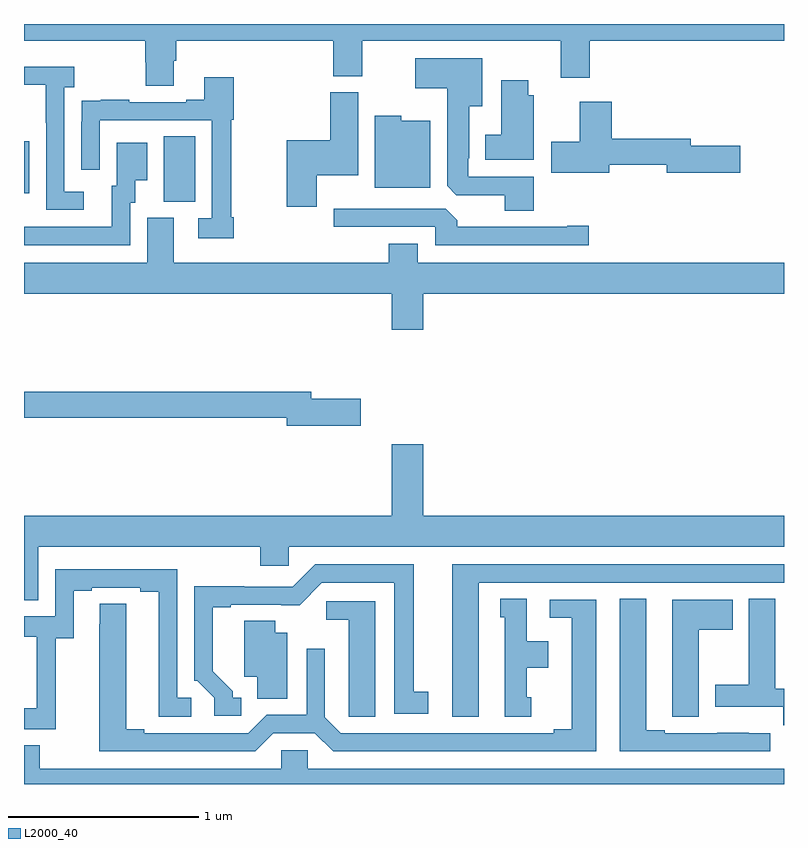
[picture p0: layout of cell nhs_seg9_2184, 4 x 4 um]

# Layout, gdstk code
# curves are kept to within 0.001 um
import gdstk
lib = gdstk.Library(unit=1e-6, precision=1e-09)
def R(c, l, rs):  # rectangles x0, y0, x1, y1
    for r in rs: c.add(gdstk.rectangle(r[:2], r[2:], *l))
def P(c, l, *ps):  # polygons
    for p in ps: c.add(gdstk.Polygon(p, *l))
L2000_40 = (2000, 40)

nhs_seg9_2184 = lib.new_cell('nhs_seg9_2184')
R(nhs_seg9_2184, L2000_40, [(235.736,1203.565,235.9,1203.908), (235,1203.609,235.027,1203.883)])
P(nhs_seg9_2184, L2000_40, [(235.789,1204.306),(235.802,1204.306),(235.802,1204.412),(236.627,1204.412),(236.627,1204.225),(236.779,1204.225),(236.779,1204.412),(237.824,1204.412),(237.824,1204.218),(237.977,1204.218),(237.977,1204.412),(239,1204.412),(239,1204.5),(235,1204.5),(235,1204.412),(235.637,1204.412),(235.637,1204.299),(235.642,1204.299),(235.642,1204.174),(235.789,1204.174)],
  [(237.683,1203.696),(237.339,1203.696),(237.339,1203.793),(237.343,1203.793),(237.343,1204.067),(237.412,1204.067),(237.412,1204.321),(237.06,1204.321),(237.06,1204.163),(237.227,1204.163),(237.227,1203.649),(237.276,1203.6),(237.53,1203.6),(237.53,1203.517),(237.683,1203.517)],
  [(235.315,1203.618),(235.212,1203.618),(235.212,1204.166),(235.264,1204.166),(235.264,1204.276),(235,1204.276),(235,1204.179),(235.115,1204.179),(235.115,1203.979),(235.116,1203.979),(235.116,1203.522),(235.315,1203.522)],
  [(236.105,1203.484),(236.09,1203.484),(236.09,1203.996),(236.105,1203.996),(236.105,1204.219),(235.949,1204.219),(235.949,1204.102),(235.853,1204.102),(235.853,1204.089),(235.553,1204.089),(235.553,1204.102),(235.405,1204.102),(235.405,1204.095),(235.303,1204.095),(235.303,1203.986),(235.302,1203.986),(235.302,1203.732),(235.398,1203.732),(235.398,1203.993),(235.989,1203.993),(235.989,1203.477),(235.917,1203.477),(235.917,1203.372),(236.105,1203.372)],
  [(237.682,1204.125),(237.655,1204.125),(237.655,1204.204),(237.512,1204.204),(237.512,1203.916),(237.428,1203.916),(237.428,1203.785),(237.682,1203.785)],
  [(236.542,1203.704),(236.758,1203.704),(236.758,1204.14),(236.612,1204.14),(236.612,1203.889),(236.384,1203.889),(236.384,1203.537),(236.542,1203.537)],
  [(238.081,1203.76),(238.382,1203.76),(238.382,1203.718),(238.771,1203.718),(238.771,1203.86),(238.51,1203.86),(238.51,1203.896),(238.094,1203.896),(238.094,1204.09),(237.926,1204.09),(237.926,1203.879),(237.774,1203.879),(237.774,1203.716),(238.081,1203.716)],
  [(237.139,1203.991),(236.985,1203.991),(236.985,1204.018),(236.846,1204.018),(236.846,1203.638),(237.139,1203.638)],
  [(235.56,1203.558),(235.585,1203.558),(235.585,1203.677),(235.648,1203.677),(235.648,1203.874),(235.487,1203.874),(235.487,1203.648),(235.463,1203.648),(235.463,1203.432),(235,1203.432),(235,1203.336),(235.56,1203.336)],
  [(237.973,1203.437),(237.86,1203.437),(237.86,1203.432),(237.281,1203.432),(237.281,1203.466),(237.219,1203.528),(236.631,1203.528),(236.631,1203.432),(237.165,1203.432),(237.165,1203.336),(237.973,1203.336)],
  [(237.1,1203.08),(239,1203.08),(239,1203.244),(237.073,1203.244),(237.073,1203.343),(236.921,1203.343),(236.921,1203.244),(235.789,1203.244),(235.789,1203.48),(235.649,1203.48),(235.649,1203.244),(235,1203.244),(235,1203.08),(236.936,1203.08),(236.936,1202.892),(237.1,1202.892)],
  [(236.773,1202.528),(236.512,1202.528),(236.512,1202.564),(235,1202.564),(235,1202.428),(236.384,1202.428),(236.384,1202.386),(236.773,1202.386)],
  [(235.075,1201.748),(236.243,1201.748),(236.243,1201.65),(236.394,1201.65),(236.394,1201.748),(239,1201.748),(239,1201.912),(237.1,1201.912),(237.1,1202.287),(236.936,1202.287),(236.936,1201.912),(235,1201.912),(235,1201.468),(235.075,1201.468)],
  [(237.394,1201.56),(239,1201.56),(239,1201.656),(237.254,1201.656),(237.254,1200.855),(237.394,1200.855)],
  [(236.143,1200.954),(236.098,1200.954),(236.098,1200.989),(235.993,1201.094),(235.993,1201.431),(236.089,1201.431),(236.089,1201.443),(236.45,1201.442),(236.568,1201.56),(236.948,1201.56),(236.948,1200.87),(237.127,1200.87),(237.127,1200.986),(237.052,1200.986),(237.052,1201.656),(236.532,1201.656),(236.415,1201.539),(236.159,1201.539),(236.159,1201.541),(235.896,1201.541),(235.896,1201.044),(235.911,1201.044),(236.001,1200.954),(236.001,1200.858),(236.143,1200.858)],
  [(235.167,1201.267),(235.261,1201.267),(235.261,1201.518),(235.357,1201.518),(235.357,1201.533),(235.613,1201.533),(235.613,1201.513),(235.709,1201.513),(235.709,1200.853),(235.879,1200.853),(235.879,1200.954),(235.806,1200.954),(235.806,1201.629),(235.164,1201.629),(235.164,1201.383),(235,1201.383),(235,1201.275),(235.067,1201.275),(235.067,1200.898),(235,1200.898),(235,1200.789),(235.167,1200.789)],
  [(237.67,1200.957),(237.646,1200.957),(237.646,1201.112),(237.76,1201.112),(237.76,1201.252),(237.646,1201.252),(237.646,1201.475),(237.506,1201.475),(237.506,1201.377),(237.53,1201.377),(237.53,1200.855),(237.67,1200.855)],
  [(238.927,1200.768),(238.814,1200.768),(238.814,1200.769),(238.648,1200.769),(238.648,1200.768),(238.372,1200.768),(238.372,1200.783),(238.276,1200.783),(238.276,1201.475),(238.136,1201.475),(238.136,1200.672),(238.927,1200.672)],
  [(239,1201.002),(238.954,1201.002),(238.954,1201.364),(238.953,1201.364),(238.953,1201.475),(238.814,1201.475),(238.814,1201.023),(238.637,1201.023),(238.637,1200.906),(238.996,1200.906),(238.996,1200.81),(239,1200.81)],
  [(238.552,1201.312),(238.729,1201.312),(238.729,1201.471),(238.412,1201.471),(238.412,1200.961),(238.413,1200.961),(238.413,1200.853),(238.552,1200.853)],
  [(236.313,1200.768),(236.531,1200.768),(236.627,1200.672),(238.012,1200.672),(238.012,1201.47),(237.768,1201.47),(237.768,1201.374),(237.884,1201.374),(237.884,1200.788),(237.788,1200.788),(237.788,1200.768),(236.667,1200.768),(236.583,1200.852),(236.583,1201.213),(236.487,1201.213),(236.487,1200.864),(236.277,1200.864),(236.181,1200.768),(235.633,1200.768),(235.633,1200.788),(235.537,1200.788),(235.537,1201.448),(235.398,1201.448),(235.397,1200.672),(236.217,1200.672)],
  [(236.848,1201.461),(236.592,1201.461),(236.592,1201.364),(236.708,1201.364),(236.708,1200.961),(236.709,1200.961),(236.709,1200.853),(236.848,1200.853)],
  [(236.386,1201.297),(236.323,1201.297),(236.323,1201.358),(236.159,1201.358),(236.159,1201.064),(236.228,1201.064),(236.228,1200.949),(236.386,1200.949)],
  [(239,1200.58),(236.493,1200.58),(236.493,1200.678),(236.355,1200.678),(236.355,1200.58),(235.083,1200.58),(235.083,1200.704),(235,1200.704),(235,1200.5),(239,1200.5)])

lib.write_gds('nhs_seg9_2184.gds')
